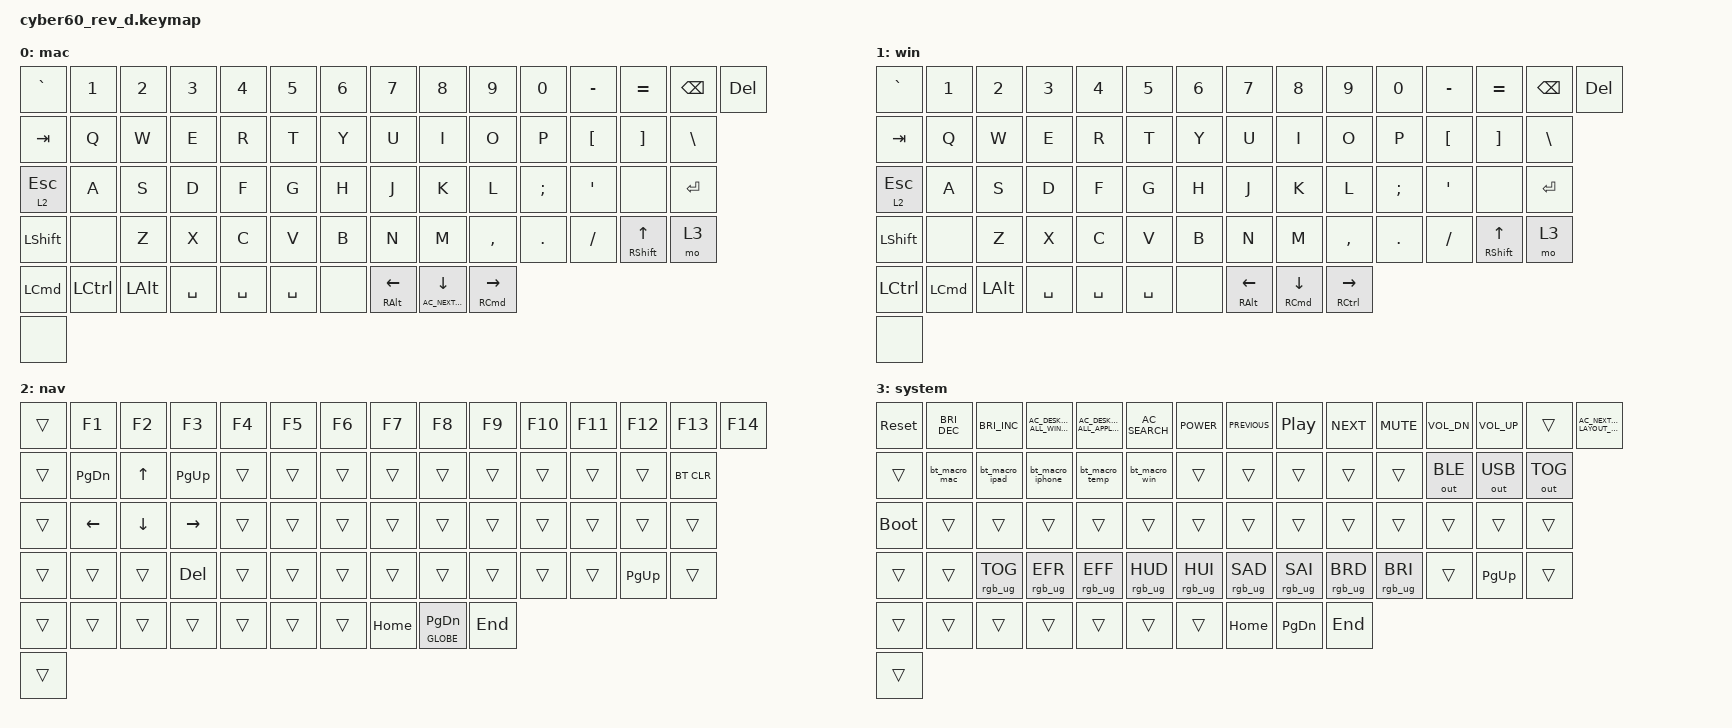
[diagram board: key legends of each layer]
#include <behaviors.dtsi>
#include <dt-bindings/zmk/bt.h>
#include <dt-bindings/zmk/keys.h>
#include <dt-bindings/zmk/outputs.h>
#include <dt-bindings/zmk/rgb.h>

#define FN1 1

/ {
    behaviors {
        mo_kp: mo_kp {
            compatible = "zmk,behavior-hold-tap";
            label = "MO_KP";
            bindings = <&mo>, <&kp>;

            #binding-cells = <2>;
            tapping-term-ms = <200>;
        };
    };

    macros {
        bt_macro_mac: bt_macro_mac {
            compatible = "zmk,behavior-macro";
            #binding-cells = <0>;
            bindings = <&to 0 &bt BT_SEL 0>;
            label = "BT_MACRO_MAC";
        };

        bt_macro_ipad: bt_macro_ipad {
            compatible = "zmk,behavior-macro";
            #binding-cells = <0>;
            bindings = <&to 0 &bt BT_SEL 1>;
            label = "BT_MACRO_IPAD";
        };

        bt_macro_iphone: bt_macro_iphone {
            compatible = "zmk,behavior-macro";
            #binding-cells = <0>;
            bindings = <&to 0 &bt BT_SEL 2>;
            label = "BT_MACRO_IPHONE";
        };

        bt_macro_temp: bt_macro_temp {
            compatible = "zmk,behavior-macro";
            #binding-cells = <0>;
            bindings = <&to 1 &bt BT_SEL 3>;
            label = "BT_MACRO_TEMP";
        };

        bt_macro_win: bt_macro_win {
            compatible = "zmk,behavior-macro";
            #binding-cells = <0>;
            bindings = <&to 1 &bt BT_SEL 4>;
            label = "BT_MACRO_WIN";
        };
    };

    keymap {
        compatible = "zmk,keymap";

        mac {
            bindings = <
&kp GRAVE         &kp N1            &kp N2    &kp N3     &kp N4     &kp N5     &kp N6  &kp N7                    &kp N8                                           &kp N9                         &kp N0    &kp MINUS  &kp EQUAL                 &kp BACKSPACE  &kp DELETE
&kp TAB           &kp Q             &kp W     &kp E      &kp R      &kp T      &kp Y   &kp U                     &kp I                                            &kp O                          &kp P     &kp LBKT   &kp RBKT                  &kp BSLH
&mo_kp 2 ESCAPE   &kp A             &kp S     &kp D      &kp F      &kp G      &kp H   &kp J                     &kp K                                            &kp L                          &kp SEMI  &kp SQT    &none                     &kp RET
&kp LSHFT         &none             &kp Z     &kp X      &kp C      &kp V      &kp B   &kp N                     &kp M                                            &kp COMMA                      &kp DOT   &kp FSLH   &mt RIGHT_SHIFT UP_ARROW  &mo 3
&kp LEFT_COMMAND  &kp LEFT_CONTROL  &kp LALT  &kp SPACE  &kp SPACE  &kp SPACE  &none   &mt RIGHT_ALT LEFT_ARROW  &mt C_AC_NEXT_KEYBOARD_LAYOUT_SELECT DOWN_ARROW  &mt RIGHT_COMMAND RIGHT_ARROW
&none
            >;
        };

        win {
            // Base layer
            // ------------------------------------------------------------------------------------------
            // | ESC |  1  |  2  |  3  |  4  |  5  |  6  |  7  |  8  |  9  |  0  |  -  |  =  |   BKSP   |
            // |  TAB |  Q  |  W  |  E  |  R  |  T  |  Y  |  U  |  I  |  O  |  P  |  [  |  ]  |   "|"   |
            // | CAPS  |  A  |  S  |  D  |  F  |  G  |  H  |  J  |  K  |  L  |  ;  |  '  |NUHS| ENTER   |
            // | SHIFT |NUBS| Z |  X  |  C  |  V  |  B  |  N  |  M  |  ,  |  .  |  /  |    Shift   | FN |
            // |  LCTL  |  LWIN  |  LALT  | SPACE  | SPACE |    SPACE   |  RALT | FN  |   RWIN  | RCTRL |
            // | Rotary | (<-- Rotary switch) ----------------------------------------------------------- 

            bindings = <
&kp GRAVE        &kp N1            &kp N2    &kp N3     &kp N4     &kp N5     &kp N6  &kp N7                    &kp N8                        &kp N9                         &kp N0    &kp MINUS  &kp EQUAL                 &kp BACKSPACE  &kp DELETE
&kp TAB          &kp Q             &kp W     &kp E      &kp R      &kp T      &kp Y   &kp U                     &kp I                         &kp O                          &kp P     &kp LBKT   &kp RBKT                  &kp BSLH
&mo_kp 2 ESCAPE  &kp A             &kp S     &kp D      &kp F      &kp G      &kp H   &kp J                     &kp K                         &kp L                          &kp SEMI  &kp SQT    &none                     &kp RET
&kp LSHFT        &none             &kp Z     &kp X      &kp C      &kp V      &kp B   &kp N                     &kp M                         &kp COMMA                      &kp DOT   &kp FSLH   &mt RIGHT_SHIFT UP_ARROW  &mo 3
&kp LCTRL        &kp LEFT_COMMAND  &kp LALT  &kp SPACE  &kp SPACE  &kp SPACE  &none   &mt RIGHT_ALT LEFT_ARROW  &mt RIGHT_COMMAND DOWN_ARROW  &mt RIGHT_CONTROL RIGHT_ARROW
&none
            >;
        };

        nav {
            // Function layer
            // ------------------------------------------------------------------------------------------
            // | RESET | F1 |  F2 |  F3 |  F4 |  F5 |  F6 |  F7 |  F8 |  F9 | F10 | F11 | F12 |TRNS | DEL |
            // |BT_CLR |TRNS | UP  | BT0 | BT1 | BT2 | BT3 | BT4 | TRNS | TRNS | TRNS | TRNS | TRNS | TRNS|
            // | BOOTL  |LEFT |DOWN |RIGHT|TRNS |TRNS |TRNS | TRNS| TRNS |TRNS| TRNS |TRNS | TRNS | TRNS  |
            // | TRNS |TRNS|TRNS|TRNS|TRNS | TRNS| TRNS | TRNS |  TRNS| TRNS | TRNS| TRNS |   TRNS   |TRNS|
            // |  TRNS | TRNS | TRNS |      TRNS      | TRNS |     TRNS     |  TRNS |  TRNS | TRNS | TRNS |
            // | Rotary | (<-- Rotary switch) ----------------------------------------------------------- 

            bindings = <
&trans  &kp F1         &kp F2    &kp F3       &kp F4  &kp F5  &kp F6  &kp F7    &kp F8               &kp F9   &kp F10  &kp F11  &kp F12      &kp F13     &kp F14
&trans  &kp PAGE_DOWN  &kp UP    &kp PAGE_UP  &trans  &trans  &trans  &trans    &trans               &trans   &trans   &trans   &trans       &bt BT_CLR
&trans  &kp LEFT       &kp DOWN  &kp RIGHT    &trans  &trans  &trans  &trans    &trans               &trans   &trans   &trans   &trans       &trans
&trans  &trans         &trans    &kp DELETE   &trans  &trans  &trans  &trans    &trans               &trans   &trans   &trans   &kp PAGE_UP  &trans
&trans  &trans         &trans    &trans       &trans  &trans  &trans  &kp HOME  &mt GLOBE PAGE_DOWN  &kp END
&trans
            >;
        };

        system {
            bindings = <
&sys_reset   &kp C_BRIGHTNESS_DEC  &kp C_BRIGHTNESS_INC  &kp C_AC_DESKTOP_SHOW_ALL_WINDOWS  &kp C_AC_DESKTOP_SHOW_ALL_APPLICATIONS  &kp C_AC_SEARCH  &kp C_POWER      &kp C_PREVIOUS   &kp C_PLAY_PAUSE  &kp C_NEXT       &kp C_MUTE       &kp C_VOL_DN  &kp C_VOLUME_UP  &trans        &kp C_AC_NEXT_KEYBOARD_LAYOUT_SELECT
&trans       &bt_macro_mac         &bt_macro_ipad        &bt_macro_iphone                   &bt_macro_temp                          &bt_macro_win    &trans           &trans           &trans            &trans           &trans           &out OUT_BLE  &out OUT_USB     &out OUT_TOG
&bootloader  &trans                &trans                &trans                             &trans                                  &trans           &trans           &trans           &trans            &trans           &trans           &trans        &trans           &trans
&trans       &trans                &rgb_ug RGB_TOG       &rgb_ug RGB_EFR                    &rgb_ug RGB_EFF                         &rgb_ug RGB_HUD  &rgb_ug RGB_HUI  &rgb_ug RGB_SAD  &rgb_ug RGB_SAI   &rgb_ug RGB_BRD  &rgb_ug RGB_BRI  &trans        &kp PAGE_UP      &trans
&trans       &trans                &trans                &trans                             &trans                                  &trans           &trans           &kp HOME         &kp PAGE_DOWN     &kp END
&trans
            >;
        };
    };
};
